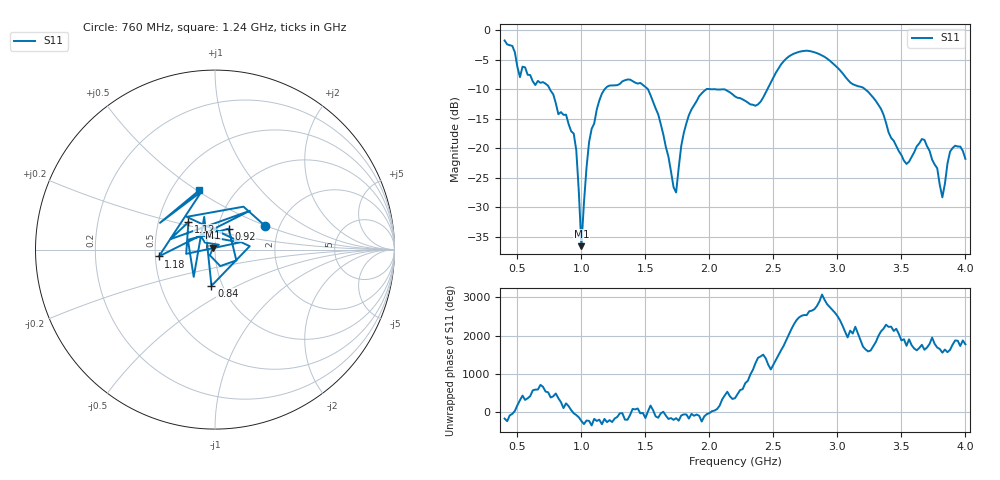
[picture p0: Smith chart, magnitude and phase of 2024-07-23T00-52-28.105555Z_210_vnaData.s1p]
!Created with skrf (http://scikit-rf.org).
# Hz S RI R 50.0
!freq ReS11 ImS11
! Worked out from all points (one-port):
!   181 points, 400 MHz to 4 GHz, reference 50 ohm
!   lowest |S11| = -36.6 dB at 1 GHz (marker M1), VSWR 1.03, Z = 49 + j1.06 ohm
!   |S11| at or under -10 dB: 754.3 MHz to 1.181 GHz (426.6 MHz wide, 44.1 % of centre); 1.52 GHz to 1.975 GHz (455 MHz wide, 26 % of centre); 3.217 GHz to end of sweep (the widest 3 of 5)
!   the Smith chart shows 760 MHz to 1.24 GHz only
!   S11 on the Smith chart (normalised r, x): 760 MHz: 1.67, +0.50; 840 MHz: 0.89, -0.37; 920 MHz: 1.13, +0.27; 1.12 GHz: 0.71, +0.23; 1.18 GHz: 0.52, -0.04; 1.24 GHz: 0.68, +0.51
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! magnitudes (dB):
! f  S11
! 400 MHz  -1.7
! 520 MHz  -7.9
! 760 MHz  -10.2
! 840 MHz  -13.9
! 860 MHz  -14.3
! 920 MHz  -17.1
! 960 MHz  -20.3
! 1 GHz  -36.6
! 1.06 GHz  -18.9
! 1.12 GHz  -13.4
! 1.18 GHz  -10.0
! 1.24 GHz  -9.3
! 1.3 GHz  -9.1
! 1.52 GHz  -10.0
! 1.72 GHz  -26.6
! 1.76 GHz  -23.3
! 1.82 GHz  -15.8
! 1.92 GHz  -11.2
! 2.2 GHz  -11.2
! 2.38 GHz  -12.5
! 2.66 GHz  -3.9
! 3.1 GHz  -8.8
! 3.3 GHz  -12.0
! 3.56 GHz  -22.3
! 3.68 GHz  -18.6
! 3.82 GHz  -28.3
! 3.88 GHz  -20.6
! 4 GHz  -21.8
